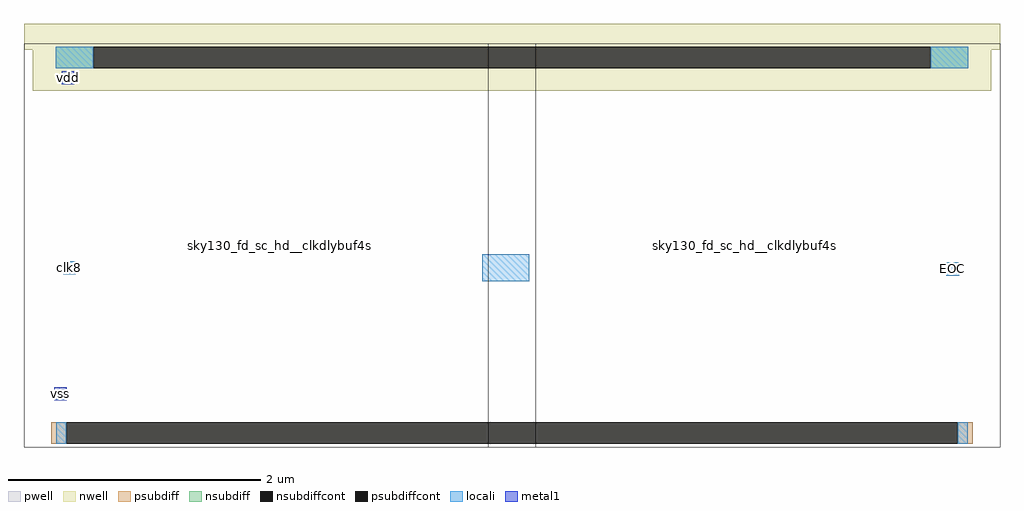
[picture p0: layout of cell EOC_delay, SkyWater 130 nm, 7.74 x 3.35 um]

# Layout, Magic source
magic
tech sky130A
magscale 1 2
<< nwell >>
rect -774 582 774 623
rect -760 517 760 582
<< pwell >>
rect -726 26 -706 47
<< psubdiff >>
rect -731 -43 -707 -9
rect 707 -43 731 -9
<< nsubdiff >>
rect -724 553 -664 587
rect 664 553 724 587
<< psubdiffcont >>
rect -707 -43 707 -9
<< nsubdiffcont >>
rect -664 553 664 587
<< locali >>
rect -724 553 -664 587
rect 664 553 724 587
rect -712 226 -692 247
rect -47 215 27 258
rect 689 224 709 245
rect -723 -43 -707 -9
rect 707 -43 723 -9
<< metal1 >>
rect -714 527 -694 548
rect -726 26 -706 47
use sky130_fd_sc_hd__clkdlybuf4s50_1  sky130_fd_sc_hd__clkdlybuf4s50_1_0 $PDKPATH/libs.ref/sky130_fd_sc_hd/mag
transform 1 0 0 0 1 0
box -38 -48 774 592
use sky130_fd_sc_hd__clkdlybuf4s50_1  sky130_fd_sc_hd__clkdlybuf4s50_1_1
transform 1 0 -736 0 1 0
box -38 -48 774 592
<< labels >>
flabel metal1 -726 26 -706 47 0 FreeSans 160 0 0 0 vss
port 1 nsew
flabel metal1 -714 527 -694 548 0 FreeSans 160 0 0 0 vdd
port 0 nsew
flabel locali -712 226 -692 247 0 FreeSans 160 0 0 0 clk8
port 2 nsew
flabel locali 689 224 709 245 0 FreeSans 160 0 0 0 EOC
port 3 nsew
<< end >>
